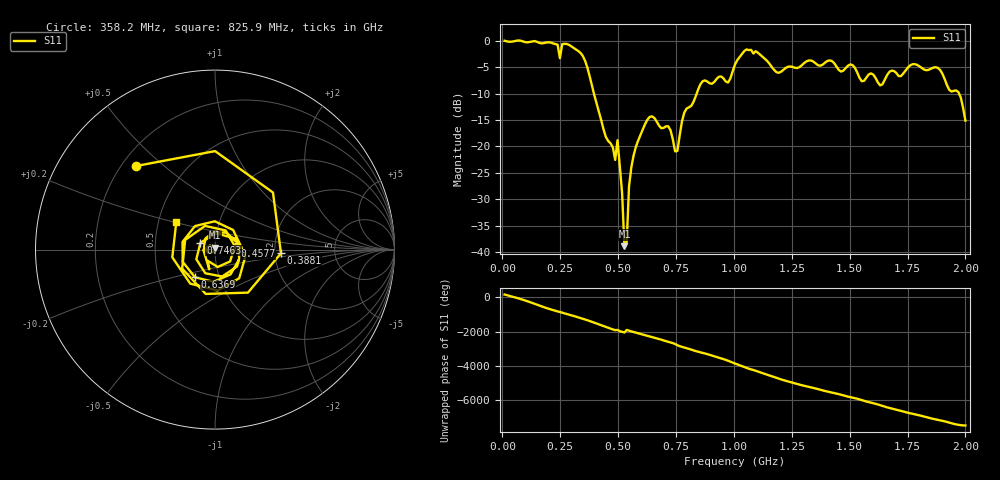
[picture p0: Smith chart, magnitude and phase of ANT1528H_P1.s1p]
!Created with skrf (http://scikit-rf.org).
# Hz S RI R 50.0
!freq ReS11 ImS11
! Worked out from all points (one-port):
!   201 points, 10 MHz to 2 GHz, reference 50 ohm
!   lowest |S11| = -38.9 dB at 527.4 MHz (marker M1), VSWR 1.02, Z = 49.7 + j1.1 ohm
!   |S11| at or under -10 dB: 395.7 MHz to 839.6 MHz (443.8 MHz wide, 71.9 % of centre); 1.973 GHz to end of sweep
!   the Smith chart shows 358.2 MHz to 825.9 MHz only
!   S11 on the Smith chart (normalised r, x): 358.2 MHz: 0.26, +0.41; 388.1 MHz: 2.16, -0.10; 457.8 MHz: 1.25, +0.05; 636.9 MHz: 0.76, -0.24; 746.3 MHz: 0.85, +0.07; 825.9 MHz: 0.62, +0.20
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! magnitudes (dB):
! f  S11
! 10 MHz  0.0
! 248.8 MHz  -3.3
! 258.8 MHz  -0.6
! 358.2 MHz  -3.9
! 388.1 MHz  -8.7
! 457.8 MHz  -19.0
! 487.6 MHz  -22.6
! 497.6 MHz  -18.8
! 507.5 MHz  -23.7
! 527.4 MHz  -38.9
! 537.4 MHz  -38.1
! 547.3 MHz  -27.5
! 567.2 MHz  -21.7
! 636.9 MHz  -14.4
! 716.5 MHz  -16.2
! 746.3 MHz  -20.9
! 756.2 MHz  -20.9
! 786.1 MHz  -13.6
! 825.9 MHz  -11.6
! 1.005 GHz  -4.5
! 1.055 GHz  -1.6
! 1.254 GHz  -5.0
! 1.502 GHz  -4.5
! 1.632 GHz  -8.4
! 1.751 GHz  -5.1
! 1.891 GHz  -5.5
! 1.97 GHz  -9.7
! 2 GHz  -15.1
